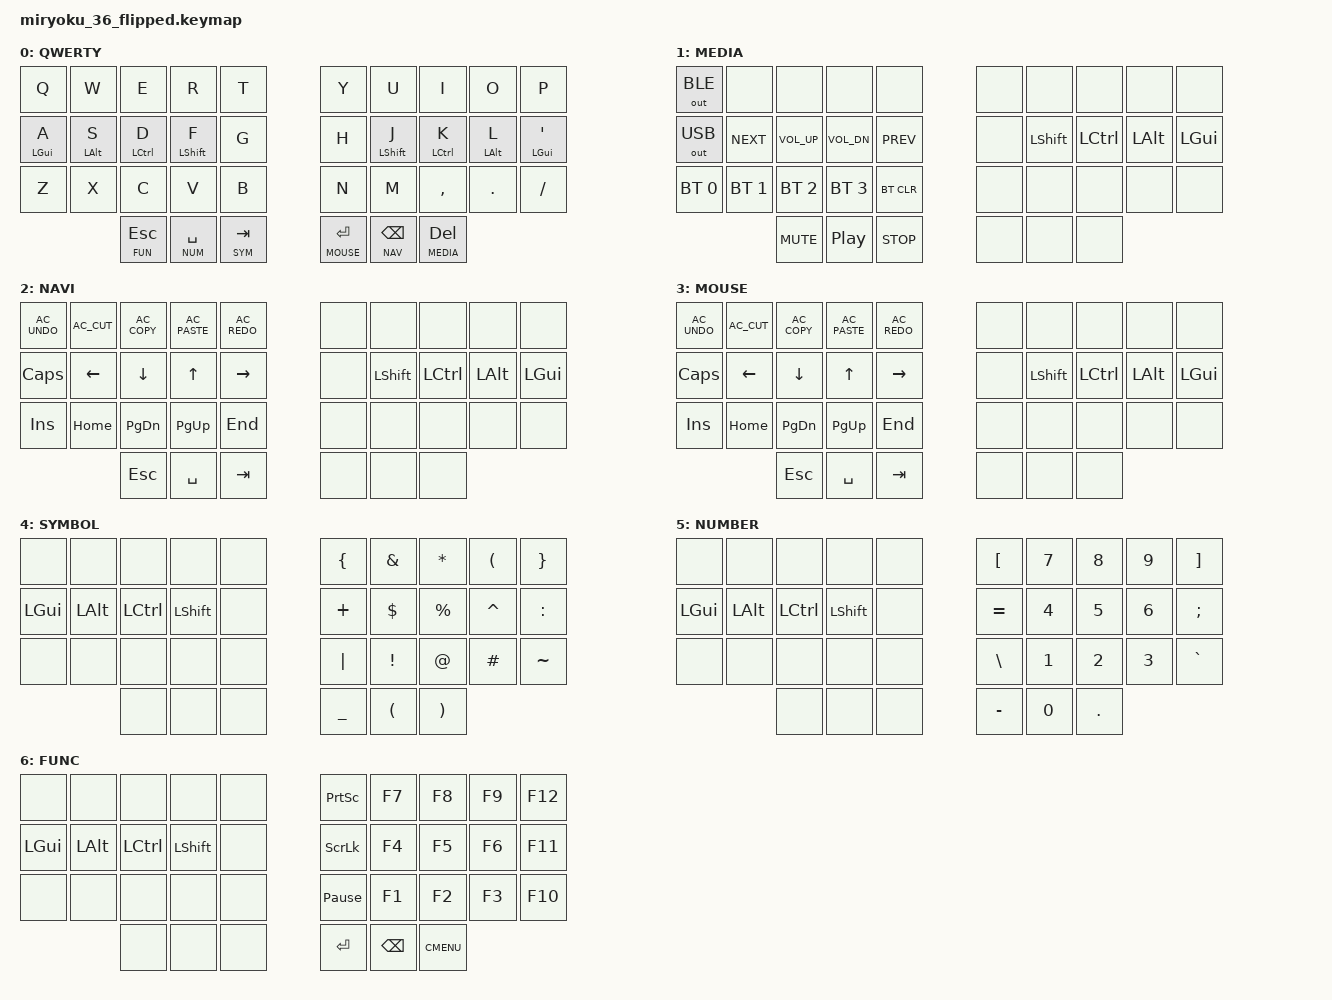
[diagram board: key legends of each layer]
#include "layers.h"

/ {
  keymap {
    compatible = "zmk,keymap";

    default_layer {
      label = "QWERTY";
			bindings = <
// ╭───────────────┬───────────────┬───────────────┬───────────────┬───────────────╮   ╭───────────────┬───────────────┬───────────────┬───────────────┬───────────────╮
	   &kp Q           &kp W           &kp E           &kp R           &kp T               &kp Y           &kp U           &kp I           &kp O           &kp P   
// ├───────────────┼───────────────┼───────────────┼───────────────┼───────────────┤   ├───────────────┼───────────────┼───────────────┼───────────────┼───────────────┤
     &hm LGUI A      &hm LALT S      &hm LCTRL D     &hm LSHFT F     &kp G               &kp H           &hm LSHFT J     &hm LCTRL K     &hm LALT L      &hm LGUI SQT
// ├───────────────┼───────────────┼───────────────┼───────────────┼───────────────┤   ├───────────────┼───────────────┼───────────────┼───────────────┼───────────────┤
	   &kp Z           &kp X           &kp C           &kp V           &kp B               &kp N           &kp M           &kp COMMA       &kp DOT         &kp FSLH
// ╰───────────────┴───────────────┴───────────────┼───────────────┼───────────────┤   ├───────────────┼───────────────┼───────────────┴───────────────┴───────────────╯
	                                   &lt FUN ESC     &lt NUM SPC     &lt SYM TAB         &lt MOUSE RET   &lt NAV BSPC    &lt MEDIA DEL
//                                 ╰───────────────┴───────────────┴───────────────╯   ╰───────────────┴───────────────┴───────────────╯
>;
    };

    media_layer {
      label = "MEDIA";
			bindings = <
// ╭───────────────┬───────────────┬───────────────┬───────────────┬───────────────╮   ╭───────────────┬───────────────┬───────────────┬───────────────┬───────────────╮
     &out OUT_BLE    &none           &none           &none           &none               &none           &none           &none           &none           &none
// ├───────────────┼───────────────┼───────────────┼───────────────┼───────────────┤   ├───────────────┼───────────────┼───────────────┼───────────────┼───────────────┤
	   &out OUT_USB    &kp C_NEXT      &kp C_VOL_UP    &kp C_VOL_DN    &kp C_PREV          &none           &kp LSHIFT      &kp LCTRL       &kp LALT        &kp LGUI
// ├───────────────┼───────────────┼───────────────┼───────────────┼───────────────┤   ├───────────────┼───────────────┼───────────────┼───────────────┼───────────────┤
	   &bt BT_SEL 0    &bt BT_SEL 1    &bt BT_SEL 2    &bt BT_SEL 3    &bt BT_CLR          &none           &none           &none           &none           &none
// ╰───────────────┴───────────────┴───────────────┼───────────────┼───────────────┤   ├───────────────┼───────────────┼───────────────┴───────────────┴───────────────╯
	                                   &kp C_MUTE      &kp C_PP        &kp C_STOP          &none           &none           &none
//                                 ╰───────────────┴───────────────┴───────────────╯   ╰───────────────┴───────────────┴───────────────╯
>;
    };

    nav_layer {
      label = "NAVI";
			bindings = <
// ╭───────────────┬───────────────┬───────────────┬───────────────┬───────────────╮   ╭───────────────┬───────────────┬───────────────┬───────────────┬───────────────╮
	   &kp C_AC_UNDO   &kp C_AC_CUT    &kp C_AC_COPY   &kp C_AC_PASTE  &kp C_AC_REDO       &none           &none           &none           &none           &none
// ├───────────────┼───────────────┼───────────────┼───────────────┼───────────────┤   ├───────────────┼───────────────┼───────────────┼───────────────┼───────────────┤
	   &kp CAPSLOCK    &kp LEFT        &kp DOWN        &kp UP          &kp RIGHT           &none           &kp LSHIFT      &kp LCTRL       &kp LALT        &kp LGUI
// ├───────────────┼───────────────┼───────────────┼───────────────┼───────────────┤   ├───────────────┼───────────────┼───────────────┼───────────────┼───────────────┤
	   &kp INSERT      &kp HOME        &kp PG_DN       &kp PG_UP       &kp END             &none           &none           &none           &none           &none
// ╰───────────────┴───────────────┴───────────────┼───────────────┼───────────────┤   ├───────────────┼───────────────┼───────────────┴───────────────┴───────────────╯
	                                   &kp ESC         &kp SPC         &kp TAB             &none           &none           &none
//                                 ╰───────────────┴───────────────┴───────────────╯   ╰───────────────┴───────────────┴───────────────╯
>;
    };

    /* This needs to be implemented when mouse keys hits ZMK's main branch */
		mouse_layer {
      label = "MOUSE";
			bindings = <
// ╭───────────────┬───────────────┬───────────────┬───────────────┬───────────────╮   ╭───────────────┬───────────────┬───────────────┬───────────────┬───────────────╮
	   &kp C_AC_UNDO   &kp C_AC_CUT    &kp C_AC_COPY   &kp C_AC_PASTE  &kp C_AC_REDO       &none           &none           &none           &none           &none
// ├───────────────┼───────────────┼───────────────┼───────────────┼───────────────┤   ├───────────────┼───────────────┼───────────────┼───────────────┼───────────────┤
	   &kp CAPSLOCK    &kp LEFT        &kp DOWN        &kp UP          &kp RIGHT           &none           &kp LSHIFT      &kp LCTRL       &kp LALT        &kp LGUI
// ├───────────────┼───────────────┼───────────────┼───────────────┼───────────────┤   ├───────────────┼───────────────┼───────────────┼───────────────┼───────────────┤
	   &kp INSERT      &kp HOME        &kp PG_DN       &kp PG_UP       &kp END             &none           &none           &none           &none           &none
// ╰───────────────┴───────────────┴───────────────┼───────────────┼───────────────┤   ├───────────────┼───────────────┼───────────────┴───────────────┴───────────────╯
	                                   &kp ESC         &kp SPC         &kp TAB             &none           &none           &none
//                                 ╰───────────────┴───────────────┴───────────────╯   ╰───────────────┴───────────────┴───────────────╯
>;
		};

		sym_layer {
      label = "SYMBOL";
			bindings = <
// ╭───────────────┬───────────────┬───────────────┬───────────────┬───────────────╮   ╭───────────────┬───────────────┬───────────────┬───────────────┬───────────────╮
	   &none           &none           &none           &none           &none               &kp LBRC        &kp AMPS        &kp STAR        &kp LPAR        &kp RBRC
// ├───────────────┼───────────────┼───────────────┼───────────────┼───────────────┤   ├───────────────┼───────────────┼───────────────┼───────────────┼───────────────┤
	   &kp LGUI        &kp LALT        &kp LCTRL       &kp LSHIFT      &none               &kp PLUS        &kp DLLR        &kp PRCNT       &kp CARET       &kp COLON
// ├───────────────┼───────────────┼───────────────┼───────────────┼───────────────┤   ├───────────────┼───────────────┼───────────────┼───────────────┼───────────────┤
     &none           &none           &none           &none           &none               &kp PIPE        &kp EXCL        &kp AT          &kp POUND       &kp TILDE
// ╰───────────────┴───────────────┴───────────────┼───────────────┼───────────────┤   ├───────────────┼───────────────┼───────────────┴───────────────┴───────────────╯
      	                             &none           &none           &none               &kp UNDER       &kp LPAR        &kp RPAR
//                                 ╰───────────────┴───────────────┴───────────────╯   ╰───────────────┴───────────────┴───────────────╯
>;
		};

		num_layer {
      label = "NUMBER";
			bindings = <
// ╭───────────────┬───────────────┬───────────────┬───────────────┬───────────────╮   ╭───────────────┬───────────────┬───────────────┬───────────────┬───────────────╮
	   &none           &none           &none           &none           &none               &kp LBKT        &kp N7          &kp N8          &kp N9          &kp RBKT
// ├───────────────┼───────────────┼───────────────┼───────────────┼───────────────┤   ├───────────────┼───────────────┼───────────────┼───────────────┼───────────────┤
	   &kp LGUI        &kp LALT        &kp LCTRL       &kp LSHIFT      &none               &kp EQUAL       &kp N4          &kp N5          &kp N6          &kp SEMI
// ├───────────────┼───────────────┼───────────────┼───────────────┼───────────────┤   ├───────────────┼───────────────┼───────────────┼───────────────┼───────────────┤
	   &none           &none           &none           &none           &none               &kp BSLH        &kp N1          &kp N2          &kp N3          &kp GRAVE
// ╰───────────────┴───────────────┴───────────────┼───────────────┼───────────────┤   ├───────────────┼───────────────┼───────────────┴───────────────┴───────────────╯
	                                   &none           &none           &none               &kp MINUS       &kp N0          &kp DOT
//                                 ╰───────────────┴───────────────┴───────────────╯   ╰───────────────┴───────────────┴───────────────╯
>;
		};

		fun_layer {
      label = "FUNC";
			bindings = <
// ╭───────────────┬───────────────┬───────────────┬───────────────┬───────────────╮   ╭───────────────┬───────────────┬───────────────┬───────────────┬───────────────╮
	   &none           &none           &none           &none           &none               &kp PSCRN       &kp F7          &kp F8          &kp F9          &kp F12
// ├───────────────┼───────────────┼───────────────┼───────────────┼───────────────┤   ├───────────────┼───────────────┼───────────────┼───────────────┼───────────────┤
	   &kp LGUI        &kp LALT        &kp LCTRL       &kp LSHIFT      &none               &kp SLCK        &kp F4          &kp F5          &kp F6          &kp F11
// ├───────────────┼───────────────┼───────────────┼───────────────┼───────────────┤   ├───────────────┼───────────────┼───────────────┼───────────────┼───────────────┤
	   &none           &none           &none           &none           &none               &kp PAUSE_BREAK &kp F1          &kp F2          &kp F3          &kp F10
// ╰───────────────┴───────────────┴───────────────┼───────────────┼───────────────┤   ├───────────────┼───────────────┼───────────────┴───────────────┴───────────────╯
	                                   &none           &none           &none               &kp RET         &kp BSPC        &kp K_CMENU
//                                 ╰───────────────┴───────────────┴───────────────╯   ╰───────────────┴───────────────┴───────────────╯
>;
		};
  };
};
